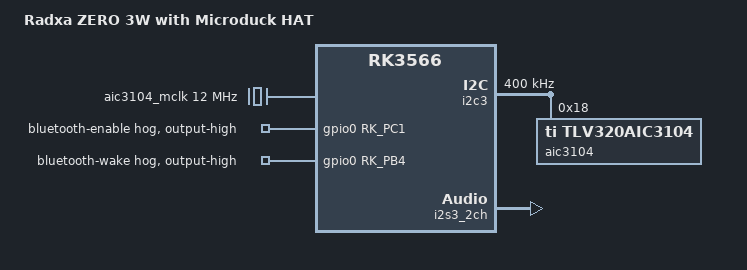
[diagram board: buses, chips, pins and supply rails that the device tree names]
// SPDX-License-Identifier: (GPL-2.0-or-later OR MIT)
#include "rk3566-radxa-zero-3w.dts"

/ {
    model = "Radxa ZERO 3W with Microduck HAT";
    chosen {
        /delete-property/ stdout-path;
    };
    aliases {
        i2c3 = &i2c3;
    };
    aic3104_mclk: aic3104-mclk {
        compatible = "fixed-clock";
        #clock-cells = <0>;
        clock-frequency = <12000000>;
    };
    sound-aic3104 {
        compatible = "simple-audio-card";
        simple-audio-card,name = "aic3104";
        simple-audio-card,format = "i2s";
        simple-audio-card,bitclock-master = <&pihat_cpu>;
        simple-audio-card,frame-master = <&pihat_cpu>;
        pihat_cpu: simple-audio-card,cpu {
            sound-dai = <&i2s3_2ch>;
            system-clock-frequency = <12288000>;
        };
        simple-audio-card,codec {
            sound-dai = <&aic3104>;
        };
    };
};

// The upstream board DT defines this pin but has no radio power consumer.
// A GPIO hog powers either radio variant while userspace owns UART1 HCI.
&gpio0 {
    bluetooth-enable-hog {
        gpio-hog;
        gpios = <RK_PC1 GPIO_ACTIVE_HIGH>;
        output-high;
        line-name = "bluetooth-enable";
    };
    bluetooth-wake-hog {
        gpio-hog;
        gpios = <RK_PB4 GPIO_ACTIVE_HIGH>;
        output-high;
        line-name = "bluetooth-wake";
    };
};

&i2c3 {
    status = "okay";
    clock-frequency = <400000>;
    pinctrl-names = "default";
    pinctrl-0 = <&i2c3m0_xfer>;
    aic3104: codec@18 {
        compatible = "ti,tlv320aic3104";
        reg = <0x18>;
        #sound-dai-cells = <0>;
        clocks = <&aic3104_mclk>;
        clock-names = "mclk";
    };
};

&i2s3_2ch {
    pinctrl-names = "default";
    pinctrl-0 = <&i2s3m0_sclk &i2s3m0_lrck &i2s3m0_sdi &i2s3m0_sdo>;
    status = "okay";
};
